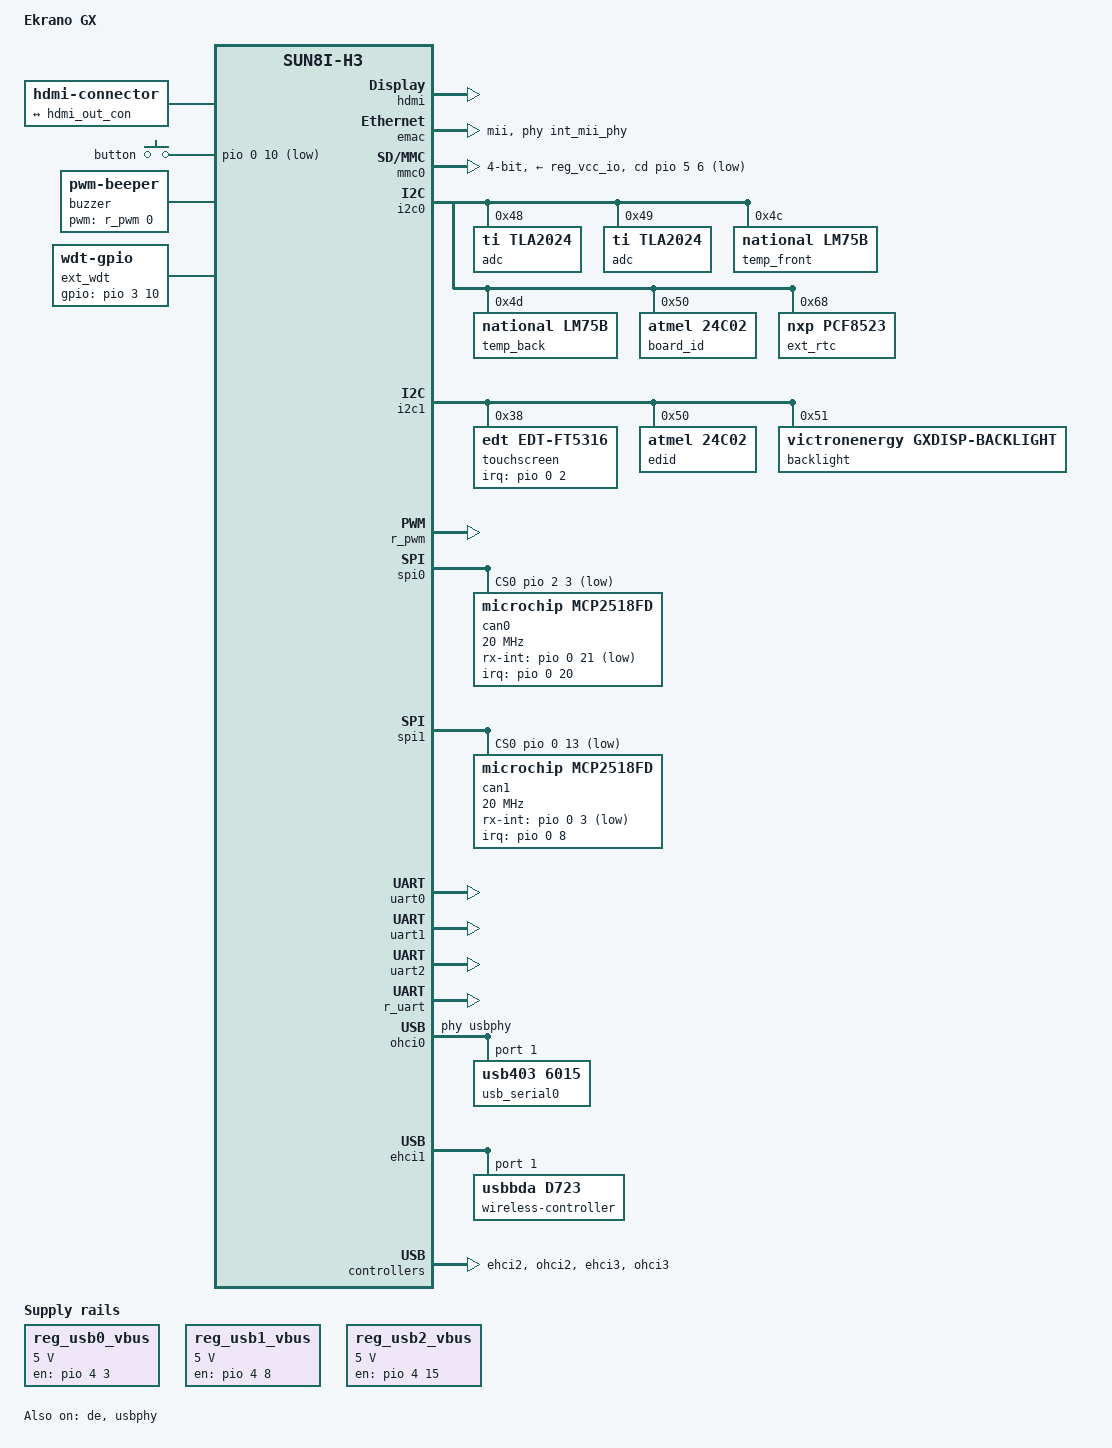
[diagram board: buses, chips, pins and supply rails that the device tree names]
/*
 * Copyright (C) 2021 Mans Rullgard <mans@mansr.com>
 *
 * This file is dual-licensed: you can use it either under the terms
 * of the GPL or the X11 license, at your option. Note that this dual
 * licensing only applies to this file, and not this project as a
 * whole.
 *
 *  a) This file is free software; you can redistribute it and/or
 *     modify it under the terms of the GNU General Public License as
 *     published by the Free Software Foundation; either version 2 of the
 *     License, or (at your option) any later version.
 *
 *     This file is distributed in the hope that it will be useful,
 *     but WITHOUT ANY WARRANTY; without even the implied warranty of
 *     MERCHANTABILITY or FITNESS FOR A PARTICULAR PURPOSE.  See the
 *     GNU General Public License for more details.
 *
 * Or, alternatively,
 *
 *  b) Permission is hereby granted, free of charge, to any person
 *     obtaining a copy of this software and associated documentation
 *     files (the "Software"), to deal in the Software without
 *     restriction, including without limitation the rights to use,
 *     copy, modify, merge, publish, distribute, sublicense, and/or
 *     sell copies of the Software, and to permit persons to whom the
 *     Software is furnished to do so, subject to the following
 *     conditions:
 *
 *     The above copyright notice and this permission notice shall be
 *     included in all copies or substantial portions of the Software.
 *
 *     THE SOFTWARE IS PROVIDED "AS IS", WITHOUT WARRANTY OF ANY KIND,
 *     EXPRESS OR IMPLIED, INCLUDING BUT NOT LIMITED TO THE WARRANTIES
 *     OF MERCHANTABILITY, FITNESS FOR A PARTICULAR PURPOSE AND
 *     NONINFRINGEMENT. IN NO EVENT SHALL THE AUTHORS OR COPYRIGHT
 *     HOLDERS BE LIABLE FOR ANY CLAIM, DAMAGES OR OTHER LIABILITY,
 *     WHETHER IN AN ACTION OF CONTRACT, TORT OR OTHERWISE, ARISING
 *     FROM, OUT OF OR IN CONNECTION WITH THE SOFTWARE OR THE USE OR
 *     OTHER DEALINGS IN THE SOFTWARE.
 */

/dts-v1/;

#include "sun8i-h3-sinh3-core.dtsi"
#include <dt-bindings/input/input.h>

/ {
	model = "Ekrano GX";
	compatible = "victronenergy,ekrano-gx",
		     "sinlinx,sinh3-core",
		     "allwinner,sun8i-h3";

	aliases {
		ethernet0 = &emac;
		hwmon0 = &cpu_thermal;
		hwmon1 = &temp_front;
		hwmon2 = &temp_back;
		i2c0 = &i2c0;
		i2c1 = &i2c1;
		mmc0 = &mmc0;
		mmc1 = &mmc2;
		nvmem0 = &board_id;
		nvmem1 = &edid;
		rtc0 = &ext_rtc;
		rtc1 = &rtc;
		serial0 = &uart0;
		serial1 = &uart1;
		serial2 = &uart2;
		serial3 = &r_uart;
		usb-serial0 = &usb_serial0;
		watchdog0 = &ext_wdt;
		watchdog1 = &wdt0;
	};

	hdmi-connector {
		compatible = "hdmi-connector";
		type = "a";

		port {
			hdmi_con_in: endpoint {
				remote-endpoint = <&hdmi_out_con>;
			};
		};
	};

	button {
		compatible = "gpio-keys";

		button {
			linux,code = <KEY_CONFIG>;
			gpios = <&pio 0 10 GPIO_ACTIVE_LOW>; /* PA10 */
		};
	};

	buzzer {
		compatible = "pwm-beeper";
		pwms = <&r_pwm 0 1000000 0>;
	};

	ext_wdt: watchdog {
		compatible = "linux,wdt-gpio";
		gpios = <&pio 3 10 GPIO_ACTIVE_HIGH>; /* PD10 */
		hw_algo = "toggle";
		hw_margin_ms = <30000>;
		always-running;
	};

	can_clk: can-clk {
		compatible = "fixed-clock";
		#clock-cells = <0>;
		clock-frequency = <40000000>;
	};

	reg_usb0_vbus: usb0-vbus {
		compatible = "regulator-fixed";
		regulator-name = "usb0-vbus";
		regulator-min-microvolt = <5000000>;
		regulator-max-microvolt = <5000000>;
		enable-active-high;
		gpio = <&pio 4 3 GPIO_ACTIVE_HIGH>; /* PE3 */
	};

	reg_usb1_vbus: usb1-vbus {
		compatible = "regulator-fixed";
		regulator-name = "usb1-vbus";
		regulator-min-microvolt = <5000000>;
		regulator-max-microvolt = <5000000>;
		enable-active-high;
		gpio = <&pio 4 8 GPIO_ACTIVE_HIGH>; /* PE8 */
	};

	reg_usb2_vbus: usb2-vbus {
		compatible = "regulator-fixed";
		regulator-name = "usb2-vbus";
		regulator-min-microvolt = <5000000>;
		regulator-max-microvolt = <5000000>;
		enable-active-high;
		gpio = <&pio 4 15 GPIO_ACTIVE_HIGH>; /* PE15 */
	};
};

&de {
	status = "okay";
};

&hdmi {
	ddc-i2c-bus = <&i2c1>;
	status = "okay";
};

&hdmi_out {
	hdmi_out_con: endpoint {
		remote-endpoint = <&hdmi_con_in>;
	};
};

&emac {
	phy-handle = <&int_mii_phy>;
	phy-mode = "mii";
	status = "okay";
};

&mmc0 {
	vmmc-supply = <&reg_vcc_io>;
	bus-width = <4>;
	cd-gpios = <&pio 5 6 GPIO_ACTIVE_LOW>; /* PF6 */
	status = "okay";
};

&i2c0 {
	status = "okay";

	adc@48 {
		compatible = "ti,tla2024";
		reg = <0x48>;

		ain0 {
			single-channel = <0>;
		};

		ain1 {
			single-channel = <1>;
		};

		ain2 {
			single-channel = <2>;
		};
	};

	adc@49 {
		compatible = "ti,tla2024";
		reg = <0x49>;

		ain0 {
			single-channel = <0>;
		};

		ain2 {
			single-channel = <2>;
		};

		ain3 {
			single-channel = <3>;
		};
	};

	temp_front: sensor@4c {
		compatible = "national,lm75b";
		reg = <0x4c>;
	};

	temp_back: sensor@4d {
		compatible = "national,lm75b";
		reg = <0x4d>;
	};

	board_id: eeprom@50 {
		compatible = "atmel,24c02";
		reg = <0x50>;
		pagesize = <16>;
		read-only;
	};

	ext_rtc: rtc@68 {
		compatible = "nxp,pcf8523";
		status = "okay";
		reg = <0x68>;
	};
};

&i2c1 {
	status = "okay";

	touchscreen@38 {
		compatible = "edt,edt-ft5316", "edt,edt-ft5306";
		reg = <0x38>;
		interrupt-parent = <&pio>;
		interrupts = <0 2 IRQ_TYPE_EDGE_FALLING>;
	};

	edid: eeprom@50 {
		compatible = "atmel,24c02";
		reg = <0x50>;
		pagesize = <16>;
		read-only;
	};

	backlight@51 {
		compatible = "victronenergy,gxdisp-backlight";
		reg = <0x51>;
		default-on;
		default-brightness = <15>;
	};
};

&r_pwm {
	status = "okay";
};

&spi0 {
	status = "okay";

	assigned-clocks = <&ccu CLK_SPI0>;
	assigned-clock-rates = <600000000>;
	cs-gpios = <&pio 2 3 GPIO_ACTIVE_LOW>;

	can0: can@0 {
		compatible = "microchip,mcp2518fd";
		reg = <0>;
		spi-max-frequency = <20000000>;
		clocks = <&can_clk>;
		interrupt-parent = <&pio>;
		interrupts = <0 20 IRQ_TYPE_LEVEL_LOW>; /* PA20 */
		microchip,rx-int-gpios = <&pio 0 21 GPIO_ACTIVE_LOW>; /* PA21 */
	};
};

&spi0_pins {
	pins = "PC0", "PC1", "PC2";
};

&spi1 {
	status = "okay";

	assigned-clocks = <&ccu CLK_SPI1>;
	assigned-clock-rates = <600000000>;
	cs-gpios = <&pio 0 13 GPIO_ACTIVE_LOW>;

	can1: can@0 {
		compatible = "microchip,mcp2518fd";
		reg = <0>;
		spi-max-frequency = <20000000>;
		clocks = <&can_clk>;
		interrupt-parent = <&pio>;
		interrupts = <0 8 IRQ_TYPE_LEVEL_LOW>; /* PA8 */
		microchip,rx-int-gpios = <&pio 0 3 GPIO_ACTIVE_LOW>; /* PA3 */
	};
};

&spi1_pins {
	pins = "PA15", "PA16", "PA14";
};

&uart0 {
	pinctrl-names = "default";
	pinctrl-0 = <&uart0_pa_pins>;
	status = "okay";
};

&uart1 {
	pinctrl-names = "default";
	pinctrl-0 = <&uart1_pins>;
	status = "okay";
};

&uart2 {
	pinctrl-names = "default";
	pinctrl-0 = <&uart2_pins>;
	status = "okay";
};

&r_uart {
	status = "okay";
};

&ohci0 {
	phys = <&usbphy 0>;
	phy-names = "usb";
	status = "okay";

	#address-cells = <1>;
	#size-cells = <0>;

	usb_serial0: usb-serial@1 {
		compatible = "usb403,6015";
		reg = <1>;
	};
};

&ehci1 {
	status = "okay";

	#address-cells = <1>;
	#size-cells = <0>;

	wireless-controller@1 {
		compatible = "usbbda,d723";
		reg = <1>;
	};
};

&ehci2 {
	status = "okay";
};

&ohci2 {
	status = "okay";
};

&ehci3 {
	status = "okay";
};

&ohci3 {
	status = "okay";
};

&usbphy {
	usb0_vbus-supply = <&reg_usb0_vbus>;
	usb1_vbus-supply = <&reg_usb1_vbus>;
	usb2_vbus-supply = <&reg_usb2_vbus>;
	usb3_vbus-supply = <&reg_usb2_vbus>;
	status = "okay";
};

&pio {
	gpio-line-names =
		"relay_1",
		"relay_2",
		"digital_input_1",
		"digital_input_2",
		"digital_output_1",
		"digital_output_2",
		"mkx_rst",
		"vebus_standby";
	gpio-line-numbers =
		<110>,		/* PD14 */
		<107>,		/* PD11 */
		<197>,		/* PG5 */
		<196>,		/* PG4 */
		<113>,		/* PD17 */
		<112>,		/* PD16 */
		<111>,		/* PD15 */
		<109>;		/* PD13 */
};
